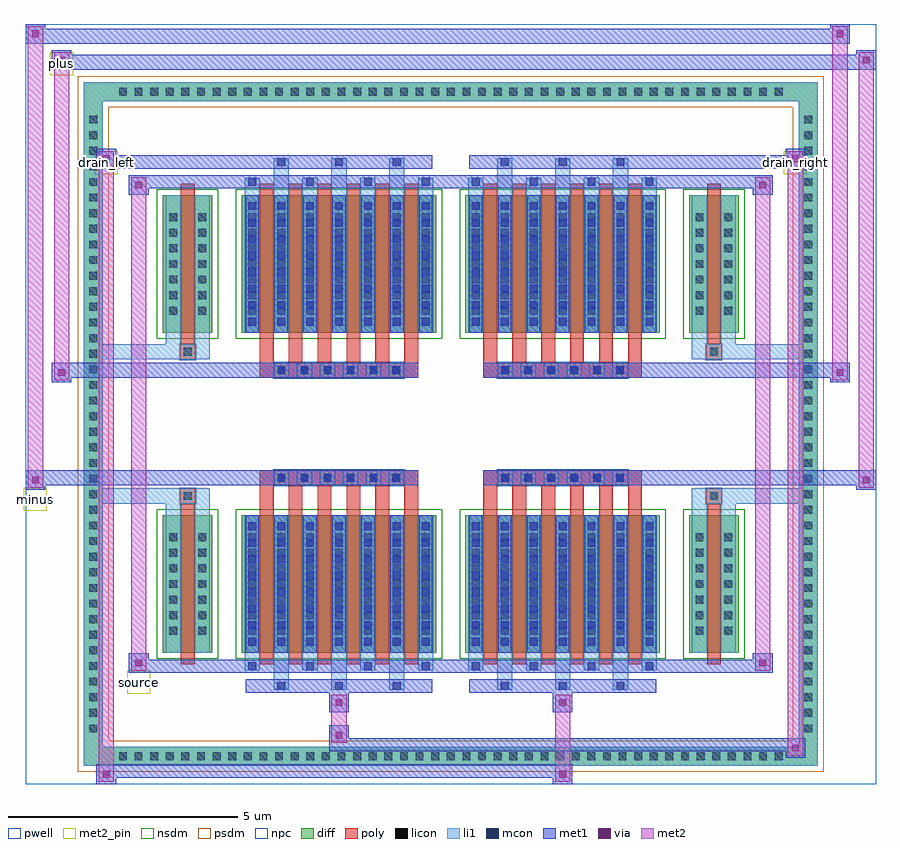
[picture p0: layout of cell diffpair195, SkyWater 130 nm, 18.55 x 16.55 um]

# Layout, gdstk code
import gdstk
lib = gdstk.Library(unit=1e-6, precision=5e-09)
def R(c, l, rs):  # rectangles x0, y0, x1, y1
    for r in rs: c.add(gdstk.rectangle(r[:2], r[2:], *l))
def A(c, l, x, y, w, h, nx, ny, dx, dy):  # array of equal rectangles
    R(c, l, [(x+i*dx, y+j*dy, x+i*dx+w, y+j*dy+h) for i in range(nx) for j in range(ny)])
def P(c, l, *ps):  # polygons
    for p in ps: c.add(gdstk.Polygon(p, *l))
pwell = (64, 44)
diff = (65, 20)
poly = (66, 20)
licon = (66, 44)
li1 = (67, 20)
mcon = (67, 44)
met1 = (68, 20)
via = (68, 44)
met2_pin = (69, 16)
met2 = (69, 20)
nsdm = (93, 44)
psdm = (94, 20)
npc = (95, 20)

diffpair195 = lib.new_cell('diffpair195')
R(diffpair195, pwell, [(-9.26,-7.84,9.26,8.71), (-6.58,-6.03,-0.01,-0.805), (0.01,-6.03,6.58,-0.805), (-6.58,0.805,-0.01,6.03), (0.01,0.805,6.58,6.03)])
A(diffpair195, diff, -7.345, -7.44, 0.41, 0.41, 43, 2, 0.34, 14.47)
A(diffpair195, diff, -7.99, -6.835, 0.41, 0.41, 1, 40, 0, 0.34)
A(diffpair195, diff, 7.58, -6.835, 0.41, 0.41, 1, 40, 0, 0.34)
R(diffpair195, diff, [(-7.345,-7.44,7.345,-7.03), (-7.99,-6.835,-7.58,6.835), (7.58,-6.835,7.99,6.835), (-6.27,-4.985,-5.19,-1.985), (-4.55,-4.985,-0.32,-1.985), (0.32,-4.985,4.55,-1.985), (5.19,-4.985,6.27,-1.985), (-6.27,1.985,-5.19,4.985), (-4.55,1.985,-0.32,4.985), (0.32,1.985,4.55,4.985), (5.19,1.985,6.27,4.985), (-7.345,7.03,7.345,7.44)])
P(diffpair195, diff, [(7.99,7.44),(-7.99,7.44),(-7.99,-7.03),(-7.58,-7.03),(-7.58,7.03),(7.58,7.03),(7.58,-7.03),(-7.58,-7.03),(-7.99,-7.03),(-7.99,-7.44),(7.99,-7.44)])
A(diffpair195, poly, -4.16, -5.235, 0.3, 3.5, 6, 2, 0.63, 6.97)
A(diffpair195, poly, 0.71, -5.235, 0.3, 3.5, 6, 2, 0.63, 6.97)
A(diffpair195, poly, -4.16, -1.735, 0.3, 0.4, 6, 2, 0.63, 3.07)
A(diffpair195, poly, 0.71, -1.735, 0.3, 0.4, 6, 2, 0.63, 3.07)
A(diffpair195, poly, -3.85, -1.335, 0.33, 0.33, 6, 2, 0.5, 2.34)
A(diffpair195, poly, 1.02, -1.335, 0.33, 0.33, 6, 2, 0.5, 2.34)
R(diffpair195, poly, [(-5.88,-5.235,-5.58,-1.735), (5.58,-5.235,5.88,-1.735), (-5.895,-1.735,-5.565,-1.405), (-5.895,-1.735,-5.565,-1.405), (5.565,-1.735,5.895,-1.405), (5.565,-1.735,5.895,-1.405), (-4.16,-1.335,-0.71,-1.005), (0.71,-1.335,4.16,-1.005), (-4.16,1.005,-0.71,1.335), (0.71,1.005,4.16,1.335), (-5.895,1.405,-5.565,1.735), (-5.895,1.405,-5.565,1.735), (5.565,1.405,5.895,1.735), (5.565,1.405,5.895,1.735), (-5.88,1.735,-5.58,5.235), (5.58,1.735,5.88,5.235)])
A(diffpair195, licon, -7.225, -7.32, 0.17, 0.17, 43, 2, 0.34, 14.47)
A(diffpair195, licon, -7.87, -6.715, 0.17, 0.17, 1, 40, 0, 0.34)
A(diffpair195, licon, 7.7, -6.715, 0.17, 0.17, 1, 40, 0, 0.34)
A(diffpair195, licon, -6.13, -4.59, 0.17, 0.17, 1, 7, 0, 0.34)
A(diffpair195, licon, -5.5, -4.59, 0.17, 0.17, 1, 7, 0, 0.34)
A(diffpair195, licon, -4.41, -4.59, 0.17, 0.17, 7, 7, 0.63, 0.34)
A(diffpair195, licon, 0.46, -4.59, 0.17, 0.17, 7, 7, 0.63, 0.34)
A(diffpair195, licon, 5.33, -4.59, 0.17, 0.17, 1, 7, 0, 0.34)
A(diffpair195, licon, 5.96, -4.59, 0.17, 0.17, 1, 7, 0, 0.34)
A(diffpair195, licon, -3.77, -1.255, 0.17, 0.17, 6, 2, 0.5, 2.34)
A(diffpair195, licon, 1.1, -1.255, 0.17, 0.17, 6, 2, 0.5, 2.34)
A(diffpair195, licon, -6.13, 2.38, 0.17, 0.17, 1, 7, 0, 0.34)
A(diffpair195, licon, -5.5, 2.38, 0.17, 0.17, 1, 7, 0, 0.34)
A(diffpair195, licon, -4.41, 2.38, 0.17, 0.17, 7, 7, 0.63, 0.34)
A(diffpair195, licon, 0.46, 2.38, 0.17, 0.17, 7, 7, 0.63, 0.34)
A(diffpair195, licon, 5.33, 2.38, 0.17, 0.17, 1, 7, 0, 0.34)
A(diffpair195, licon, 5.96, 2.38, 0.17, 0.17, 1, 7, 0, 0.34)
R(diffpair195, licon, [(-5.815,-1.655,-5.645,-1.485), (5.645,-1.655,5.815,-1.485), (-5.815,1.485,-5.645,1.655), (5.645,1.485,5.815,1.655)])
A(diffpair195, li1, -7.305, -7.4, 0.33, 0.33, 43, 2, 0.34, 14.47)
A(diffpair195, li1, -7.95, -6.795, 0.33, 0.33, 1, 40, 0, 0.34)
A(diffpair195, li1, 7.62, -6.795, 0.33, 0.33, 1, 40, 0, 0.34)
A(diffpair195, li1, -3.86, -5.79, 0.33, 0.805, 3, 2, 1.26, 10.775)
A(diffpair195, li1, -3.78, -5.79, 0.17, 0.17, 3, 2, 1.26, 11.41)
A(diffpair195, li1, 1.01, -5.79, 0.33, 0.805, 3, 2, 1.26, 10.775)
A(diffpair195, li1, 1.09, -5.79, 0.17, 0.17, 3, 2, 1.26, 11.41)
A(diffpair195, li1, -4.49, -5.36, 0.33, 0.375, 4, 2, 1.26, 10.345)
A(diffpair195, li1, -4.41, -5.36, 0.17, 0.17, 4, 2, 1.26, 10.55)
A(diffpair195, li1, 0.38, -5.36, 0.33, 0.375, 4, 2, 1.26, 10.345)
A(diffpair195, li1, 0.46, -5.36, 0.17, 0.17, 4, 2, 1.26, 10.55)
A(diffpair195, li1, -4.49, -4.985, 0.33, 3, 7, 2, 0.63, 6.97)
A(diffpair195, li1, 0.38, -4.985, 0.33, 3, 7, 2, 0.63, 6.97)
A(diffpair195, li1, -4.41, -4.83, 0.17, 0.17, 7, 8, 0.63, 0.36)
A(diffpair195, li1, -4.41, -4.83, 0.17, 2.69, 7, 2, 0.63, 6.97)
A(diffpair195, li1, 0.46, -4.83, 0.17, 0.17, 7, 8, 0.63, 0.36)
A(diffpair195, li1, 0.46, -4.83, 0.17, 2.69, 7, 2, 0.63, 6.97)
A(diffpair195, li1, -6.21, -4.67, 0.33, 0.33, 1, 7, 0, 0.34)
A(diffpair195, li1, -5.58, -4.67, 0.33, 0.33, 1, 7, 0, 0.34)
A(diffpair195, li1, -4.49, -4.67, 0.33, 0.33, 7, 7, 0.63, 0.34)
A(diffpair195, li1, 0.38, -4.67, 0.33, 0.33, 7, 7, 0.63, 0.34)
A(diffpair195, li1, 5.25, -4.67, 0.33, 0.33, 1, 7, 0, 0.34)
A(diffpair195, li1, 5.88, -4.67, 0.33, 0.33, 1, 7, 0, 0.34)
A(diffpair195, li1, -3.85, -1.335, 0.33, 0.33, 6, 2, 0.5, 2.34)
A(diffpair195, li1, 1.02, -1.335, 0.33, 0.33, 6, 2, 0.5, 2.34)
A(diffpair195, li1, -4.41, 2.14, 0.17, 0.17, 7, 8, 0.63, 0.36)
A(diffpair195, li1, 0.46, 2.14, 0.17, 0.17, 7, 8, 0.63, 0.36)
A(diffpair195, li1, -6.21, 2.3, 0.33, 0.33, 1, 7, 0, 0.34)
A(diffpair195, li1, -5.58, 2.3, 0.33, 0.33, 1, 7, 0, 0.34)
A(diffpair195, li1, -4.49, 2.3, 0.33, 0.33, 7, 7, 0.63, 0.34)
A(diffpair195, li1, 0.38, 2.3, 0.33, 0.33, 7, 7, 0.63, 0.34)
A(diffpair195, li1, 5.25, 2.3, 0.33, 0.33, 1, 7, 0, 0.34)
A(diffpair195, li1, 5.88, 2.3, 0.33, 0.33, 1, 7, 0, 0.34)
R(diffpair195, li1, [(-7.99,-7.44,-7.58,-7.03), (-7.99,-7.44,-7.58,-7.03), (-7.58,-7.44,7.58,-7.03), (7.58,-7.44,7.99,-7.03), (7.58,-7.44,7.99,-7.03), (-7.99,-7.03,-7.58,7.03), (7.58,-7.03,7.99,7.03), (-6.21,-4.985,-5.88,-1.985), (-5.58,-4.985,-5.25,-1.985), (5.25,-4.985,5.58,-1.985), (5.88,-4.985,6.21,-1.985), (-6.21,-1.985,-5.88,-1.405), (-5.58,-1.985,-5.25,-1.405), (5.25,-1.985,5.58,-1.405), (5.88,-1.985,6.21,-1.405), (-7.99,-1.735,-5.895,-1.405), (-6.21,-1.735,-5.895,-1.405), (-5.895,-1.735,-5.565,-1.405), (-5.565,-1.735,-5.25,-1.405), (5.25,-1.735,5.565,-1.405), (5.565,-1.735,5.895,-1.405), (5.565,-1.735,7.99,-1.405), (5.895,-1.735,6.21,-1.405), (-7.99,1.405,-5.895,1.735), (-6.21,1.405,-5.895,1.735), (-6.21,1.405,-5.88,1.985), (-5.895,1.405,-5.565,1.735), (-5.58,1.405,-5.25,1.985), (-5.565,1.405,-5.25,1.735), (5.25,1.405,5.565,1.735), (5.25,1.405,5.58,1.985), (5.565,1.405,5.895,1.735), (5.565,1.405,7.99,1.735), (5.88,1.405,6.21,1.985), (5.895,1.405,6.21,1.735), (-6.21,1.985,-5.88,4.985), (-5.58,1.985,-5.25,4.985), (5.25,1.985,5.58,4.985), (5.88,1.985,6.21,4.985), (-7.99,7.03,-7.58,7.44), (-7.99,7.03,-7.58,7.44), (-7.58,7.03,7.58,7.44), (7.58,7.03,7.99,7.44), (7.58,7.03,7.99,7.44)])
A(diffpair195, mcon, -3.78, -5.79, 0.17, 0.17, 3, 2, 1.26, 11.41)
A(diffpair195, mcon, 1.09, -5.79, 0.17, 0.17, 3, 2, 1.26, 11.41)
A(diffpair195, mcon, -4.41, -5.36, 0.17, 0.17, 4, 2, 1.26, 10.55)
A(diffpair195, mcon, 0.46, -5.36, 0.17, 0.17, 4, 2, 1.26, 10.55)
A(diffpair195, mcon, -4.41, -4.83, 0.17, 0.17, 7, 8, 0.63, 0.36)
A(diffpair195, mcon, 0.46, -4.83, 0.17, 0.17, 7, 8, 0.63, 0.36)
A(diffpair195, mcon, -3.77, -1.255, 0.17, 0.17, 6, 2, 0.5, 2.34)
A(diffpair195, mcon, 1.1, -1.255, 0.17, 0.17, 6, 2, 0.5, 2.34)
A(diffpair195, mcon, -4.41, 2.14, 0.17, 0.17, 7, 8, 0.63, 0.36)
A(diffpair195, mcon, 0.46, 2.14, 0.17, 0.17, 7, 8, 0.63, 0.36)
A(diffpair195, met1, -3.84, -5.85, 0.29, 0.29, 3, 2, 1.26, 11.41)
A(diffpair195, met1, 1.03, -5.85, 0.29, 0.29, 3, 2, 1.26, 11.41)
A(diffpair195, met1, -4.47, -5.42, 0.29, 0.29, 4, 2, 1.26, 10.55)
A(diffpair195, met1, 0.4, -5.42, 0.29, 0.29, 4, 2, 1.26, 10.55)
A(diffpair195, met1, -4.47, -4.985, 0.29, 3, 7, 2, 0.63, 6.97)
A(diffpair195, met1, 0.4, -4.985, 0.29, 3, 7, 2, 0.63, 6.97)
A(diffpair195, met1, -4.47, -4.89, 0.29, 0.29, 7, 8, 0.63, 0.36)
A(diffpair195, met1, 0.4, -4.89, 0.29, 0.29, 7, 8, 0.63, 0.36)
A(diffpair195, met1, -3.83, -1.315, 0.29, 0.29, 6, 2, 0.5, 2.34)
A(diffpair195, met1, 1.04, -1.315, 0.29, 0.29, 6, 2, 0.5, 2.34)
A(diffpair195, met1, -4.47, 2.08, 0.29, 0.29, 7, 8, 0.63, 0.36)
A(diffpair195, met1, 0.4, 2.08, 0.29, 0.29, 7, 8, 0.63, 0.36)
R(diffpair195, met1, [(-7.72,-7.84,-7.29,-7.41), (2.22,-7.84,2.65,-7.41), (-7.72,-7.7,2.65,-7.41), (7.29,-7.27,7.72,-6.84), (-2.65,-7.13,7.72,-6.84), (-2.65,-6.99,-2.22,-6.56), (-2.65,-6.28,-2.22,-5.85), (2.22,-6.28,2.65,-5.85), (-4.47,-5.85,-0.4,-5.56), (0.4,-5.85,4.47,-5.56), (-7.01,-5.42,-6.58,-4.99), (-7.01,-5.42,-4.47,-5.13), (-4.47,-5.42,-0.4,-5.13), (-0.4,-5.42,0.4,-5.13), (0.4,-5.42,4.47,-5.13), (4.47,-5.42,7.01,-5.13), (6.58,-5.42,7.01,-4.99), (-9.26,-1.435,-8.83,-1.005), (8.83,-1.435,9.26,-1.005), (-9.26,-1.335,-0.71,-1.005), (-4.16,-1.335,-0.71,-1.005), (0.71,-1.335,4.16,-1.005), (0.71,-1.335,9.26,-1.005), (-8.69,0.905,-8.26,1.335), (8.26,0.905,8.69,1.335), (-8.69,1.005,-4.16,1.335), (-4.16,1.005,-0.71,1.335), (0.71,1.005,4.16,1.335), (4.16,1.005,8.69,1.335), (-7.01,4.99,-6.58,5.42), (6.58,4.99,7.01,5.42), (-7.01,5.13,-4.47,5.42), (-4.47,5.13,-0.4,5.42), (-0.4,5.13,0.4,5.42), (0.4,5.13,4.47,5.42), (4.47,5.13,7.01,5.42), (-7.72,5.56,-7.29,5.99), (-7.72,5.56,-4.47,5.85), (-4.47,5.56,-0.4,5.85), (0.4,5.56,4.47,5.85), (4.47,5.56,7.72,5.85), (7.29,5.56,7.72,5.99), (-8.69,7.71,-8.26,8.14), (-8.69,7.71,-6.58,8.04), (-6.58,7.71,6.58,8.04), (6.58,7.71,9.26,8.04), (8.83,7.71,9.26,8.14), (-9.26,8.28,-8.83,8.71), (-9.26,8.28,-6.58,8.61), (-6.58,8.28,6.58,8.61), (6.58,8.28,8.69,8.61), (8.26,8.28,8.69,8.71)])
R(diffpair195, via, [(-7.58,-7.7,-7.43,-7.55), (2.36,-7.7,2.51,-7.55), (7.43,-7.13,7.58,-6.98), (-2.51,-6.85,-2.36,-6.7), (-2.51,-6.14,-2.36,-5.99), (2.36,-6.14,2.51,-5.99), (-6.87,-5.28,-6.72,-5.13), (6.72,-5.28,6.87,-5.13), (-9.12,-1.295,-8.97,-1.145), (8.97,-1.295,9.12,-1.145), (-8.55,1.045,-8.4,1.195), (8.4,1.045,8.55,1.195), (-6.87,5.13,-6.72,5.28), (6.72,5.13,6.87,5.28), (-7.58,5.7,-7.43,5.85), (7.43,5.7,7.58,5.85), (-8.55,7.85,-8.4,8), (8.97,7.85,9.12,8), (-9.12,8.42,-8.97,8.57), (8.4,8.42,8.55,8.57)])
R(diffpair195, met2_pin, [(-7.045,-5.87,-6.545,-5.37), (-9.295,-1.885,-8.795,-1.385), (-7.755,5.44,-7.255,5.94), (7.255,5.44,7.755,5.94), (-8.725,7.59,-8.225,8.09)])
R(diffpair195, met2, [(-7.67,-7.79,-7.34,-7.46), (-7.67,-7.79,-7.34,5.94), (2.27,-7.79,2.6,-7.46), (2.27,-7.46,2.6,-6.23), (7.34,-7.22,7.67,-6.89), (7.34,-7.22,7.67,5.94), (-2.6,-6.94,-2.27,-6.61), (-2.6,-6.61,-2.27,-6.23), (-2.6,-6.23,-2.27,-5.9), (2.27,-6.23,2.6,-5.9), (-6.96,-5.37,-6.63,-5.04), (-6.96,-5.37,-6.63,5.37), (6.63,-5.37,6.96,-5.04), (6.63,-5.37,6.96,5.37), (-9.21,-1.385,-8.88,-1.055), (-9.21,-1.385,-8.88,8.66), (8.88,-1.385,9.21,-1.055), (8.88,-1.385,9.21,8.09), (-8.64,0.955,-8.31,1.285), (-8.64,0.955,-8.31,8.09), (8.31,0.955,8.64,1.285), (8.31,0.955,8.64,8.66), (-6.96,5.04,-6.63,5.37), (6.63,5.04,6.96,5.37), (-7.67,5.61,-7.34,5.94), (7.34,5.61,7.67,5.94), (-8.64,7.76,-8.31,8.09), (8.88,7.76,9.21,8.09), (-9.21,8.33,-8.88,8.66), (8.31,8.33,8.64,8.66)])
P(diffpair195, met2, [(9.21,-1.385),(9.21,-1.385),(9.21,-1.055),(9.21,-1.055)],
  [(9.21,7.76),(9.21,7.76),(9.21,8.09),(9.21,8.09)],
  [(-8.88,-1.385),(-8.88,-1.385),(-8.88,-1.055),(-8.88,-1.055)],
  [(-8.88,8.33),(-8.88,8.33),(-8.88,8.66),(-8.88,8.66)],
  [(8.64,0.955),(8.64,0.955),(8.64,1.285),(8.64,1.285)],
  [(8.64,8.33),(8.64,8.33),(8.64,8.66),(8.64,8.66)],
  [(-8.31,0.955),(-8.31,0.955),(-8.31,1.285),(-8.31,1.285)],
  [(-8.31,7.76),(-8.31,7.76),(-8.31,8.09),(-8.31,8.09)],
  [(-7.34,-7.79),(-7.34,-7.79),(-7.34,-7.46),(-7.34,-7.46)],
  [(-7.34,5.61),(-7.34,5.61),(-7.34,5.94),(-7.34,5.94)],
  [(7.67,-7.22),(7.67,-7.22),(7.67,-6.89),(7.67,-6.89)],
  [(7.67,5.61),(7.67,5.61),(7.67,5.94),(7.67,5.94)],
  [(-6.63,-5.37),(-6.63,-5.37),(-6.63,-5.04),(-6.63,-5.04)],
  [(-6.63,5.04),(-6.63,5.04),(-6.63,5.37),(-6.63,5.37)],
  [(6.96,-5.37),(6.96,-5.37),(6.96,-5.04),(6.96,-5.04)],
  [(6.96,5.04),(6.96,5.04),(6.96,5.37),(6.96,5.37)])
R(diffpair195, nsdm, [(-6.4,-5.115,-5.06,-1.855), (-4.68,-5.115,-0.19,-1.855), (0.19,-5.115,4.68,-1.855), (5.06,-5.115,6.4,-1.855), (-6.4,1.855,-5.06,5.115), (-4.68,1.855,-0.19,5.115), (0.19,1.855,4.68,5.115), (5.06,1.855,6.4,5.115)])
P(diffpair195, psdm, [(8.12,7.57),(-8.12,7.57),(-8.12,-6.9),(-7.45,-6.9),(-7.45,6.9),(7.45,6.9),(7.45,-6.9),(-7.45,-6.9),(-8.12,-6.9),(-8.12,-7.57),(8.12,-7.57)])
A(diffpair195, npc, -3.87, -1.355, 0.37, 0.37, 6, 2, 0.5, 2.34)
A(diffpair195, npc, 1, -1.355, 0.37, 0.37, 6, 2, 0.5, 2.34)
R(diffpair195, npc, [(-5.915,-1.755,-5.545,-1.385), (5.545,-1.755,5.915,-1.385), (-3.87,-1.355,-3,-0.985), (-3.87,-1.355,-3,-0.985), (-3.37,-1.355,-2.5,-0.985), (-3.37,-1.355,-2.5,-0.985), (-2.87,-1.355,-2,-0.985), (-2.87,-1.355,-2,-0.985), (-2.37,-1.355,-1.5,-0.985), (-2.37,-1.355,-1.5,-0.985), (-1.87,-1.355,-1,-0.985), (-1.87,-1.355,-1,-0.985), (1,-1.355,1.87,-0.985), (1,-1.355,1.87,-0.985), (1.5,-1.355,2.37,-0.985), (1.5,-1.355,2.37,-0.985), (2,-1.355,2.87,-0.985), (2,-1.355,2.87,-0.985), (2.5,-1.355,3.37,-0.985), (2.5,-1.355,3.37,-0.985), (3,-1.355,3.87,-0.985), (3,-1.355,3.87,-0.985), (-3.87,0.985,-3,1.355), (-3.87,0.985,-3,1.355), (-3.37,0.985,-2.5,1.355), (-3.37,0.985,-2.5,1.355), (-2.87,0.985,-2,1.355), (-2.87,0.985,-2,1.355), (-2.37,0.985,-1.5,1.355), (-2.37,0.985,-1.5,1.355), (-1.87,0.985,-1,1.355), (-1.87,0.985,-1,1.355), (1,0.985,1.87,1.355), (1,0.985,1.87,1.355), (1.5,0.985,2.37,1.355), (1.5,0.985,2.37,1.355), (2,0.985,2.87,1.355), (2,0.985,2.87,1.355), (2.5,0.985,3.37,1.355), (2.5,0.985,3.37,1.355), (3,0.985,3.87,1.355), (3,0.985,3.87,1.355), (-5.915,1.385,-5.545,1.755), (5.545,1.385,5.915,1.755)])
diffpair195.add(gdstk.Label('minus', (-9.045,-1.635), layer=69, texttype=5))
diffpair195.add(gdstk.Label('drain_right', (7.505,5.69), layer=69, texttype=5))
diffpair195.add(gdstk.Label('drain_left', (-7.505,5.69), layer=69, texttype=5))
diffpair195.add(gdstk.Label('source', (-6.795,-5.62), layer=69, texttype=5))
diffpair195.add(gdstk.Label('plus', (-8.475,7.84), layer=69, texttype=5))

lib.write_gds('diffpair195.gds')
